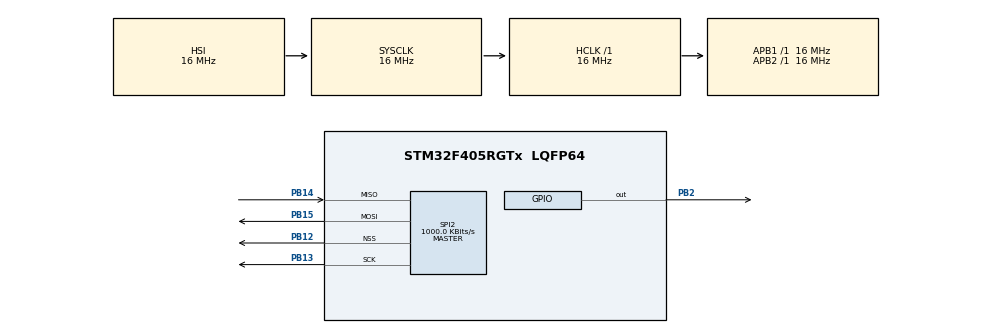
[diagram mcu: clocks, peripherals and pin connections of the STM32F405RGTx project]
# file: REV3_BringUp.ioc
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Mcu.Family=STM32F4
Mcu.Name=STM32F405RGTx
Mcu.Package=LQFP64
NVIC.PriorityGroup=NVIC_PRIORITYGROUP_4
PB12.Mode=NSS_Signal_Hard_Output
PB12.Signal=SPI2_NSS
PB13.Mode=Full_Duplex_Master
PB13.Signal=SPI2_SCK
PB14.Mode=Full_Duplex_Master
PB14.Signal=SPI2_MISO
PB15.Mode=Full_Duplex_Master
PB15.Signal=SPI2_MOSI
PB2.Signal=GPIO_Output
ProjectManager.HeapSize=0x200
ProjectManager.StackSize=0x400
ProjectManager.TargetToolchain=STM32CubeIDE
RCC.48MHZClocksFreq_Value=48000000
RCC.AHBFreq_Value=16000000
RCC.APB1Freq_Value=16000000
RCC.APB1TimFreq_Value=16000000
RCC.APB2Freq_Value=16000000
RCC.APB2TimFreq_Value=16000000
RCC.CortexFreq_Value=16000000
RCC.HCLKFreq_Value=16000000
RCC.HSE_VALUE=8000000
RCC.HSI_VALUE=16000000
RCC.LSE_VALUE=32768
RCC.SYSCLKFreq_VALUE=16000000
RCC.VCOOutputFreq_Value=192000000
SPI2.BaudRatePrescaler=SPI_BAUDRATEPRESCALER_16
SPI2.CalculateBaudRate=1000.0 KBits/s
SPI2.Direction=SPI_DIRECTION_2LINES
SPI2.Mode=SPI_MODE_MASTER
SPI2.VirtualNSS=VM_NSSHARD
SPI2.VirtualType=VM_MASTER
board=custom

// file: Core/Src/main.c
/* USER CODE BEGIN Header */
/**
  ******************************************************************************
  * @file           : main.c
  * @brief          : Main program body
  ******************************************************************************
  * @attention
  *
  * Copyright (c) 2026 STMicroelectronics.
  * All rights reserved.
  *
  * This software is licensed under terms that can be found in the LICENSE file
  * in the root directory of this software component.
  * If no LICENSE file comes with this software, it is provided AS-IS.
  *
  ******************************************************************************
  */
/* USER CODE END Header */
#include "main.h"

SPI_HandleTypeDef hspi2;

void SystemClock_Config(void);
static void MX_GPIO_Init(void);
static void MX_SPI2_Init(void);

int main(void)
{

  /* MCU Configuration--------------------------------------------------------*/

  /* Reset of all peripherals, Initializes the Flash interface and the Systick. */
  HAL_Init();

  /* Configure the system clock */
  SystemClock_Config();

  /* Initialize all configured peripherals */
  MX_GPIO_Init();
  MX_SPI2_Init();

  /* Infinite loop */
  /* USER CODE BEGIN WHILE */
  uint8_t manID_check = 0;
  uint8_t tx[2] = {0xF5, 0x00};
  uint8_t rx[2] = {0x0};
  HAL_StatusTypeDef status = HAL_SPI_TransmitReceive(&hspi2, tx, rx, 2, 1000);
  if (status == HAL_OK && rx[1] == 0x70)
  {
	  manID_check = 0;
  }
  else if (status == HAL_OK)
  {
	  manID_check = 1;
  }
  else if (status == HAL_ERROR)
  {
	  manID_check = 2;
  }
  else if (status == HAL_BUSY)
  {
	  manID_check = 3;
  }
  else if (status == HAL_TIMEOUT)
  {
	  manID_check = 4;
  }
  else
  {
	  manID_check = 5;
  }

  while (1)
  {
	  for (int i = 0; i < manID_check; i++)
	  {
		  HAL_GPIO_TogglePin(GPIOB, GPIO_PIN_2);
		  HAL_Delay(500);
		  HAL_GPIO_TogglePin(GPIOB, GPIO_PIN_2);
		  HAL_Delay(500);
	  }
	  HAL_Delay(10000);
    /* USER CODE END WHILE */

  }
}

void SystemClock_Config(void)
{
  RCC_OscInitTypeDef RCC_OscInitStruct = {0};
  RCC_ClkInitTypeDef RCC_ClkInitStruct = {0};

  /** Configure the main internal regulator output voltage
  */
  __HAL_RCC_PWR_CLK_ENABLE();
  __HAL_PWR_VOLTAGESCALING_CONFIG(PWR_REGULATOR_VOLTAGE_SCALE1);

  /** Initializes the RCC Oscillators according to the specified parameters
  * in the RCC_OscInitTypeDef structure.
  */
  RCC_OscInitStruct.OscillatorType = RCC_OSCILLATORTYPE_HSI;
  RCC_OscInitStruct.HSIState = RCC_HSI_ON;
  RCC_OscInitStruct.HSICalibrationValue = RCC_HSICALIBRATION_DEFAULT;
  RCC_OscInitStruct.PLL.PLLState = RCC_PLL_NONE;
  if (HAL_RCC_OscConfig(&RCC_OscInitStruct) != HAL_OK)
  {
    Error_Handler();
  }

  /** Initializes the CPU, AHB and APB buses clocks
  */
  RCC_ClkInitStruct.ClockType = RCC_CLOCKTYPE_HCLK|RCC_CLOCKTYPE_SYSCLK
                              |RCC_CLOCKTYPE_PCLK1|RCC_CLOCKTYPE_PCLK2;
  RCC_ClkInitStruct.SYSCLKSource = RCC_SYSCLKSOURCE_HSI;
  RCC_ClkInitStruct.AHBCLKDivider = RCC_SYSCLK_DIV1;
  RCC_ClkInitStruct.APB1CLKDivider = RCC_HCLK_DIV1;
  RCC_ClkInitStruct.APB2CLKDivider = RCC_HCLK_DIV1;

  if (HAL_RCC_ClockConfig(&RCC_ClkInitStruct, FLASH_LATENCY_0) != HAL_OK)
  {
    Error_Handler();
  }
}

static void MX_SPI2_Init(void)
{

  /* SPI2 parameter configuration*/
  hspi2.Instance = SPI2;
  hspi2.Init.Mode = SPI_MODE_MASTER;
  hspi2.Init.Direction = SPI_DIRECTION_2LINES;
  hspi2.Init.DataSize = SPI_DATASIZE_8BIT;
  hspi2.Init.CLKPolarity = SPI_POLARITY_LOW;
  hspi2.Init.CLKPhase = SPI_PHASE_1EDGE;
  hspi2.Init.NSS = SPI_NSS_HARD_OUTPUT;
  hspi2.Init.BaudRatePrescaler = SPI_BAUDRATEPRESCALER_16;
  hspi2.Init.FirstBit = SPI_FIRSTBIT_MSB;
  hspi2.Init.TIMode = SPI_TIMODE_DISABLE;
  hspi2.Init.CRCCalculation = SPI_CRCCALCULATION_DISABLE;
  hspi2.Init.CRCPolynomial = 10;
  if (HAL_SPI_Init(&hspi2) != HAL_OK)
  {
    Error_Handler();
  }

}

static void MX_GPIO_Init(void)
{
  GPIO_InitTypeDef GPIO_InitStruct = {0};

  /* GPIO Ports Clock Enable */
  __HAL_RCC_GPIOB_CLK_ENABLE();

  /*Configure GPIO pin Output Level */
  HAL_GPIO_WritePin(GPIOB, GPIO_PIN_2, GPIO_PIN_RESET);

  /*Configure GPIO pin : PB2 */
  GPIO_InitStruct.Pin = GPIO_PIN_2;
  GPIO_InitStruct.Mode = GPIO_MODE_OUTPUT_PP;
  GPIO_InitStruct.Pull = GPIO_NOPULL;
  GPIO_InitStruct.Speed = GPIO_SPEED_FREQ_LOW;
  HAL_GPIO_Init(GPIOB, &GPIO_InitStruct);

}

void Error_Handler(void)
{
  __disable_irq();
  while (1)
  {
  }
}
